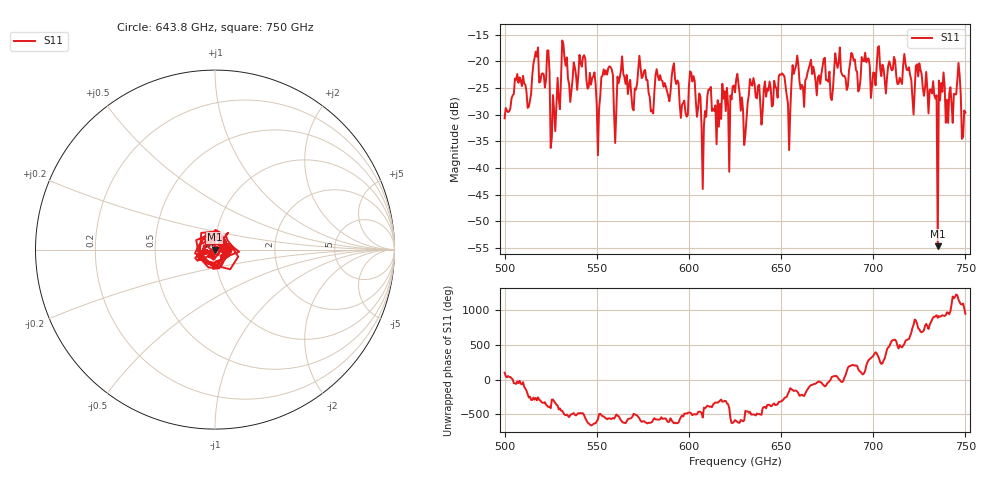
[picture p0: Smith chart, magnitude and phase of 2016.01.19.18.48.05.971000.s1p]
!Created with skrf (http://scikit-rf.org).
# GHz S RI R 50.0
!freq ReS11 ImS11
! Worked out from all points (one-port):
!   401 points, 500 GHz to 750 GHz, reference 50 ohm
!   lowest |S11| = -54.6 dB at 735 GHz (marker M1), VSWR 1.00, Z = 49.8 + j0.0345 ohm
!   |S11| at or under -10 dB: start of sweep to end of sweep
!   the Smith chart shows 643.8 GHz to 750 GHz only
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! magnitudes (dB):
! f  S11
! 500 GHz  -30.7
! 506.9 GHz  -22.4
! 513.1 GHz  -28.5
! 516.9 GHz  -18.2
! 523.1 GHz  -18.0
! 526.2 GHz  -26.3
! 531.2 GHz  -16.1
! 542.5 GHz  -19.2
! 550.6 GHz  -37.6
! 562.5 GHz  -23.0
! 593.8 GHz  -23.6
! 598.1 GHz  -29.6
! 601.9 GHz  -23.8
! 608.1 GHz  -32.1
! 610.6 GHz  -25.3
! 616.2 GHz  -32.2
! 625 GHz  -25.8
! 630.6 GHz  -33.7
! 634.4 GHz  -24.6
! 650.6 GHz  -22.3
! 653.8 GHz  -27.9
! 656.2 GHz  -20.7
! 687.5 GHz  -20.2
! 718.8 GHz  -21.7
! 735 GHz  -54.6
! 736.9 GHz  -24.1
! 745.6 GHz  -23.6
! 750 GHz  -29.6
